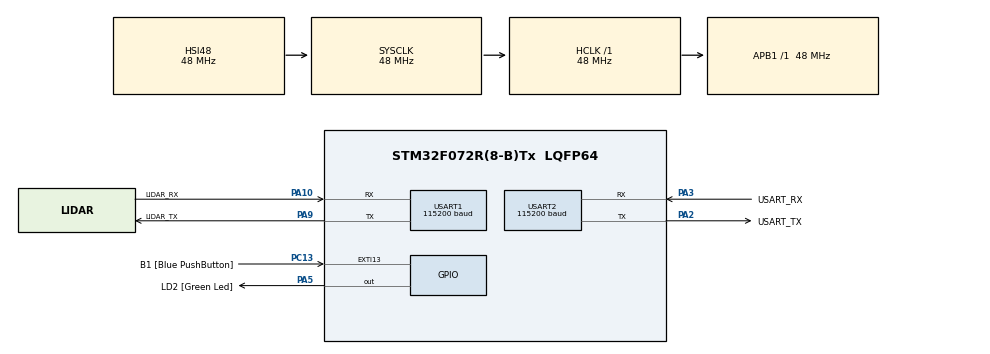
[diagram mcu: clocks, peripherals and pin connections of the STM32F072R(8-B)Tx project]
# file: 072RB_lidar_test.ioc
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Dma.Request0=USART1_RX
Dma.USART1_RX.0.Direction=DMA_PERIPH_TO_MEMORY
Dma.USART1_RX.0.Instance=DMA1_Channel3
Dma.USART1_RX.0.MemDataAlignment=DMA_MDATAALIGN_BYTE
Dma.USART1_RX.0.MemInc=DMA_MINC_ENABLE
Dma.USART1_RX.0.Mode=DMA_CIRCULAR
Dma.USART1_RX.0.PeriphDataAlignment=DMA_PDATAALIGN_BYTE
Dma.USART1_RX.0.PeriphInc=DMA_PINC_DISABLE
Dma.USART1_RX.0.Priority=DMA_PRIORITY_LOW
Mcu.Family=STM32F0
Mcu.Name=STM32F072R(8-B)Tx
Mcu.Package=LQFP64
NVIC.DMA1_Channel2_3_IRQn=true\:0\:0\:false\:false\:true\:false\:true\:true
NVIC.USART1_IRQn=true\:0\:0\:false\:false\:true\:true\:true\:true
NVIC.USART2_IRQn=true\:0\:0\:false\:false\:true\:true\:true\:true
PA10.GPIO_Label=LIDAR_RX
PA10.Mode=Asynchronous
PA10.Signal=USART1_RX
PA13.GPIO_Label=TMS
PA13.Mode=Serial_Wire
PA13.Signal=SYS_SWDIO
PA14.GPIO_Label=TCK
PA14.Mode=Serial_Wire
PA14.Signal=SYS_SWCLK
PA2.GPIO_Label=USART_TX
PA2.GPIO_Mode=GPIO_MODE_AF_PP
PA2.GPIO_PuPd=GPIO_NOPULL
PA2.GPIO_Speed=GPIO_SPEED_FREQ_LOW
PA2.Mode=Asynchronous
PA2.Signal=USART2_TX
PA3.GPIO_Label=USART_RX
PA3.GPIO_Mode=GPIO_MODE_AF_PP
PA3.GPIO_PuPd=GPIO_NOPULL
PA3.GPIO_Speed=GPIO_SPEED_FREQ_LOW
PA3.Mode=Asynchronous
PA3.Signal=USART2_RX
PA5.GPIO_Label=LD2 [Green Led]
PA5.GPIO_Mode=GPIO_MODE_OUTPUT_PP
PA5.GPIO_PuPd=GPIO_NOPULL
PA5.GPIO_Speed=GPIO_SPEED_FREQ_LOW
PA5.Signal=GPIO_Output
PA9.GPIO_Label=LIDAR_TX
PA9.Mode=Asynchronous
PA9.Signal=USART1_TX
PC13.GPIO_Label=B1 [Blue PushButton]
PC13.GPIO_ModeDefaultEXTI=GPIO_MODE_IT_FALLING
PC13.Signal=GPXTI13
PC14-OSC32_IN.Mode=LSE-External-Oscillator
PC14-OSC32_IN.Signal=RCC_OSC32_IN
PC15-OSC32_OUT.Mode=LSE-External-Oscillator
PC15-OSC32_OUT.Signal=RCC_OSC32_OUT
PF0-OSC_IN.Mode=HSE-External-Clock-Source
PF0-OSC_IN.Signal=RCC_OSC_IN
PF1-OSC_OUT.Signal=RCC_OSC_OUT
ProjectManager.HeapSize=0x200
ProjectManager.StackSize=0x400
ProjectManager.TargetToolchain=STM32CubeIDE
RCC.AHBFreq_Value=48000000
RCC.APB1Freq_Value=48000000
RCC.APB1TimFreq_Value=48000000
RCC.FLatency-AdvancedSettings=FLASH_LATENCY_1
RCC.HCLKFreq_Value=48000000
RCC.PLLDivider=RCC_PREDIV_DIV2
RCC.PLLMUL=RCC_PLL_MUL12
RCC.PREFETCH_ENABLE-AdvancedSettings=1
RCC.SYSCLKFreq_VALUE=48000000
RCC.SYSCLKSource=RCC_SYSCLKSOURCE_HSI48
USART1.BaudRate=115200
USART1.VirtualMode-Asynchronous=VM_ASYNC
USART2.BaudRate=115200
USART2.VirtualMode=VM_ASYNC
USART2.VirtualMode-Asynchronous=VM_ASYNC
board=NUCLEO-F072RB

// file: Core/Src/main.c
/* USER CODE BEGIN Header */
/**
  ******************************************************************************
  * @file           : main.c
  * @brief          : Main program body
  ******************************************************************************
  * @attention
  *
  * Copyright (c) 2023 STMicroelectronics.
  * All rights reserved.
  *
  * This software is licensed under terms that can be found in the LICENSE file
  * in the root directory of this software component.
  * If no LICENSE file comes with this software, it is provided AS-IS.
  *
  ******************************************************************************
  */
/* USER CODE END Header */
#include "main.h"
#include "dma.h"
#include "usart.h"
#include "gpio.h"

/* USER CODE BEGIN Includes */
#include "vl53l1x_ares_lidar.h"
#include <stdio.h>
#include <string.h>
/* USER CODE END Includes */

/* USER CODE BEGIN PD */
#define STRING_SIZE 32
/* USER CODE END PD */

/* USER CODE BEGIN PV */
ares_lidar_t lidar;
/* USER CODE END PV */

void SystemClock_Config(void);
/* USER CODE BEGIN PFP */
void HAL_UART_RxCpltCallback(UART_HandleTypeDef *huart)
{
	if(huart->Instance == USART1){
		HAL_GPIO_TogglePin(LD2_GPIO_Port, LD2_Pin);
		ares_lidar_dma_irq_handler(&lidar);
	}
}

void HAL_UART_RxHalfCpltCallback(UART_HandleTypeDef *huart)
{
	if(huart->Instance == USART1){
		HAL_GPIO_TogglePin(LD2_GPIO_Port, LD2_Pin);
		ares_lidar_dma_irq_handler(&lidar);
	}
}
/* USER CODE END PFP */

int main(void)
{

  /* MCU Configuration--------------------------------------------------------*/

  /* Reset of all peripherals, Initializes the Flash interface and the Systick. */
  HAL_Init();

  /* Configure the system clock */
  SystemClock_Config();

  /* Initialize all configured peripherals */
  MX_GPIO_Init();
  MX_DMA_Init();
  MX_USART2_UART_Init();
  MX_USART1_UART_Init();
  /* USER CODE BEGIN 2 */
  HAL_UART_Receive_DMA(&huart1, lidar.rx_storage, LIDAR_FRAME_SIZE<<1);
  uint8_t rx_pc = 0;
  HAL_UART_Receive_IT(&huart2, &rx_pc, 1);
  /* USER CODE END 2 */

  /* Infinite loop */
  /* USER CODE BEGIN WHILE */
  while (1)
  {
	  uint8_t string_display[STRING_SIZE];
	  if(rx_pc == 0xAA){
		  for(int i=0;i<32;i++){
			  if(i%2 == 0){
				  string_display[i] = (lidar.measure[i>>1][1])>>8;
			  }else{
				  string_display[i] = (lidar.measure[i>>1][1]) & 0x00FF;
			  }
		  }
		  HAL_UART_Transmit(&huart2,string_display, STRING_SIZE, HAL_MAX_DELAY);
	  }
    /* USER CODE END WHILE */

  }
}

void SystemClock_Config(void)
{
  RCC_OscInitTypeDef RCC_OscInitStruct = {0};
  RCC_ClkInitTypeDef RCC_ClkInitStruct = {0};
  RCC_PeriphCLKInitTypeDef PeriphClkInit = {0};

  /** Initializes the RCC Oscillators according to the specified parameters
  * in the RCC_OscInitTypeDef structure.
  */
  RCC_OscInitStruct.OscillatorType = RCC_OSCILLATORTYPE_HSI48;
  RCC_OscInitStruct.HSI48State = RCC_HSI48_ON;
  RCC_OscInitStruct.PLL.PLLState = RCC_PLL_NONE;
  if (HAL_RCC_OscConfig(&RCC_OscInitStruct) != HAL_OK)
  {
    Error_Handler();
  }

  /** Initializes the CPU, AHB and APB buses clocks
  */
  RCC_ClkInitStruct.ClockType = RCC_CLOCKTYPE_HCLK|RCC_CLOCKTYPE_SYSCLK
                              |RCC_CLOCKTYPE_PCLK1;
  RCC_ClkInitStruct.SYSCLKSource = RCC_SYSCLKSOURCE_HSI48;
  RCC_ClkInitStruct.AHBCLKDivider = RCC_SYSCLK_DIV1;
  RCC_ClkInitStruct.APB1CLKDivider = RCC_HCLK_DIV1;

  if (HAL_RCC_ClockConfig(&RCC_ClkInitStruct, FLASH_LATENCY_1) != HAL_OK)
  {
    Error_Handler();
  }
  PeriphClkInit.PeriphClockSelection = RCC_PERIPHCLK_USART1|RCC_PERIPHCLK_USART2;
  PeriphClkInit.Usart1ClockSelection = RCC_USART1CLKSOURCE_PCLK1;
  PeriphClkInit.Usart2ClockSelection = RCC_USART2CLKSOURCE_PCLK1;
  if (HAL_RCCEx_PeriphCLKConfig(&PeriphClkInit) != HAL_OK)
  {
    Error_Handler();
  }
}

void Error_Handler(void)
{
  __disable_irq();
  while (1)
  {
  }
}
